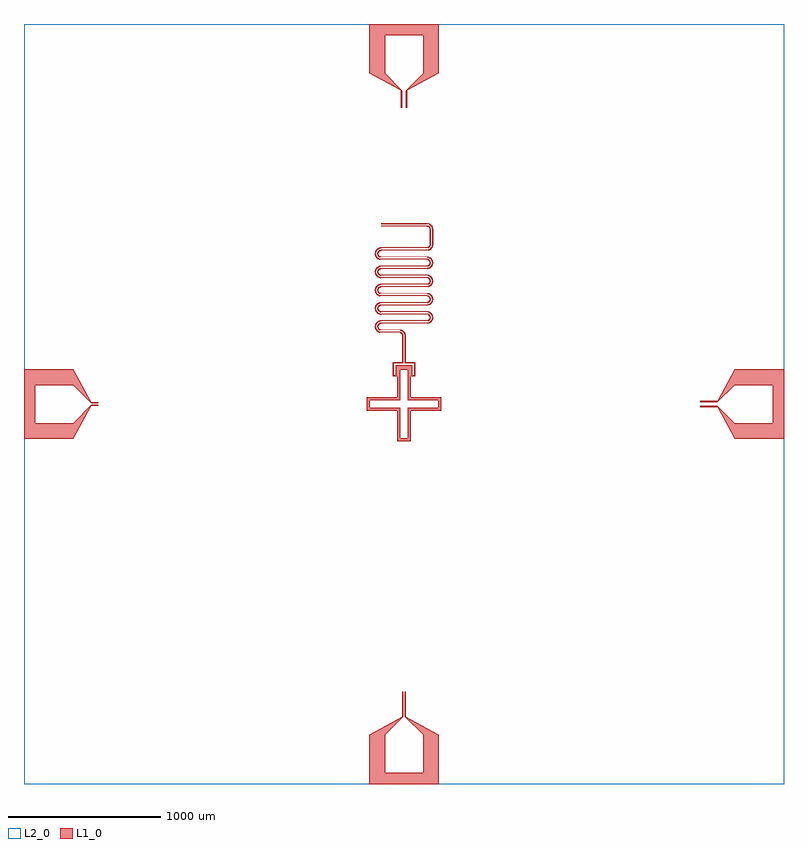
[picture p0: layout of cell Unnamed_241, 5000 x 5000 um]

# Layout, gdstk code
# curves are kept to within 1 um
from math import pi, radians
import gdstk
lib = gdstk.Library(unit=1e-6, precision=1e-09)
def R(c, l, rs):  # rectangles x0, y0, x1, y1
    for r in rs: c.add(gdstk.rectangle(r[:2], r[2:], *l))
def P(c, l, *ps):  # polygons
    for p in ps: c.add(gdstk.Polygon(p, *l))
L1_0 = (1, 0)
L2_0 = (2, 0)

xmon_xl450_xw48_xs20_ds4 = lib.new_cell('xmon_XL450_XW48_XS20_DS4_FS3')
P(xmon_xl450_xw48_xs20_ds4, L1_0, [(-44,-245),(-44,-44),(-245,-44),(-245,44),(-44,44),(-44,225),(-24,225),(-24,24),(-225,24),(-225,-24),(-24,-24),(-24,-225),(24,-225),(24,-24),(225,-24),(225,24),(24,24),(24,225),(-44,225),(-44,245),(44,245),(44,44),(245,44),(245,-44),(44,-44),(44,-245)])

unnamed_247 = lib.new_cell('Unnamed_247')
P(unnamed_247, L1_0, [(139,-910),(138.997,-729.699),(138.143,-724.359),(135.819,-719.476),(129.5,-713.546),(121.506,-711.06),(-1.301,-710.981),(-9.033,-709.994),(-15.239,-708.064),(-23.25,-703.772),(-30.119,-697.82),(-34.84,-691.617),(-38.746,-683.41),(-40.749,-674.545),(-40.749,-665.455),(-39.152,-657.826),(-35.508,-649.499),(-30.119,-642.18),(-22.167,-635.507),(-12.794,-631.046),(-2.6,-629.081),(302.405,-628.846),(310.773,-625.649),(316.453,-619.499),(318.977,-610.904),(317.282,-602.108),(314.358,-597.559),(310.271,-594.017),(305.353,-591.771),(300.603,-591.011),(-0.087,-591),(-7.76,-590.26),(-16.439,-587.562),(-24.31,-583.017),(-30.987,-576.85),(-36.141,-569.364),(-39.519,-560.926),(-40.955,-551.951),(-40.378,-542.88),(-37.818,-534.159),(-31.823,-524.146),(-23.25,-516.228),(-14.023,-511.471),(-2.6,-509.081),(302.405,-508.846),(310.271,-505.983),(316.144,-500.017),(318.882,-492.106),(317.954,-483.786),(315.476,-478.98),(311.264,-474.701),(306.498,-472.147),(300.603,-471.011),(-0.087,-471),(-7.76,-470.26),(-16.439,-467.562),(-23.25,-463.772),(-30.119,-457.82),(-35.508,-450.501),(-39.152,-442.174),(-40.749,-434.545),(-40.749,-425.455),(-38.746,-416.59),(-34.137,-407.289),(-26.355,-398.591),(-16.439,-392.438),(-6.478,-389.514),(301.205,-388.96),(309.237,-386.602),(315.476,-381.02),(318.71,-373.299),(318.312,-364.937),(315.818,-359.476),(311.744,-355.066),(306.498,-352.147),(300.603,-351.011),(-0.087,-351),(-7.76,-350.26),(-16.439,-347.562),(-23.25,-343.772),(-30.119,-337.82),(-34.84,-331.617),(-38.301,-324.633),(-40.584,-315.835),(-40.955,-308.049),(-39.519,-299.074),(-34.84,-288.383),(-27.338,-279.443),(-17.622,-272.979),(-6.478,-269.514),(301.205,-268.96),(309.237,-266.602),(315.476,-261.02),(318.596,-253.891),(318.463,-245.521),(316.144,-239.983),(312.212,-235.446),(307.061,-232.362),(300.603,-231.011),(-6.478,-230.486),(-14.023,-228.529),(-22.167,-224.493),(-28.294,-219.674),(-33.399,-213.783),(-37.296,-207.033),(-39.846,-199.666),(-40.955,-191.951),(-40.378,-182.88),(-36.141,-170.636),(-28.294,-160.326),(-17.622,-152.979),(-5.19,-149.328),(300.904,-148.978),(307.061,-147.639),(312.213,-144.555),(316.301,-139.76),(318.533,-134.186),(318.914,-28.194),(317.748,-23.219),(315.3,-18.735),(311.745,-15.065),(307.061,-12.361),(299.956,-11),(0,-11),(0,-5),(304.341,-5.38),(312.155,-8.154),(318.894,-13.629),(323.209,-20.708),(324.972,-28.81),(324.846,-132.771),(323.354,-138.922),(320.592,-144.176),(316.371,-148.894),(311.456,-152.221),(306.279,-154.199),(300.397,-154.997),(-3.327,-155.158),(-14.033,-157.936),(-23.337,-163.915),(-30.851,-173.47),(-34.469,-183.922),(-34.996,-190.555),(-34.259,-197.168),(-31.838,-204.54),(-28.511,-210.302),(-23.337,-216.085),(-17.979,-220.03),(-11.971,-222.89),(-5.53,-224.561),(301.586,-225.051),(309.291,-226.791),(316.069,-230.849),(321.243,-236.82),(324.295,-244.106),(324.62,-254.341),(320.814,-263.848),(313.516,-271.031),(303.95,-274.685),(-2.22,-275.07),(-13.008,-277.507),(-22.498,-283.188),(-29.741,-291.547),(-33.735,-300.673),(-34.891,-307.226),(-34.644,-314.981),(-33.076,-321.448),(-29.741,-328.453),(-24.945,-334.552),(-18.923,-339.444),(-11.971,-342.89),(-5.53,-344.561),(301.586,-345.051),(309.291,-346.791),(315.454,-350.349),(320.814,-356.152),(324.095,-363.338),(324.971,-368.81),(324.62,-374.341),(320.814,-383.848),(313.516,-391.031),(303.95,-394.685),(-2.22,-395.07),(-11.971,-397.11),(-20.752,-401.815),(-27.852,-408.803),(-33.076,-418.552),(-34.785,-426.121),(-34.891,-432.774),(-33.422,-440.392),(-30.311,-447.5),(-26.452,-452.921),(-20.752,-458.185),(-14.033,-462.064),(-6.624,-464.368),(-0.04,-465),(301.586,-465.051),(309.291,-466.791),(315.454,-470.349),(320.364,-475.499),(323.624,-481.824),(324.845,-487.229),(324.845,-492.771),(323.624,-498.176),(321.243,-503.18),(317.817,-507.536),(313.516,-511.031),(303.95,-514.685),(-2.22,-515.07),(-11.971,-517.11),(-20.752,-521.815),(-27.166,-527.93),(-32.283,-536.478),(-34.469,-543.922),(-34.961,-551.665),(-33.735,-559.327),(-30.851,-566.53),(-26.452,-572.921),(-20.752,-578.185),(-14.033,-582.064),(-6.624,-584.368),(-0.04,-585),(300.793,-585.013),(307.043,-586.013),(313.516,-588.969),(318.893,-593.629),(322.74,-599.615),(324.62,-605.659),(324.971,-611.19),(324.095,-616.662),(322.036,-621.806),(318.893,-626.371),(314.822,-630.131),(309.291,-633.209),(303.95,-634.685),(-2.22,-635.07),(-9.861,-636.417),(-17.979,-639.97),(-24.945,-645.448),(-30.311,-652.5),(-33.422,-659.608),(-34.891,-667.226),(-34.785,-673.879),(-33.076,-681.448),(-29.741,-688.453),(-24.945,-694.552),(-18.923,-699.444),(-11.971,-702.89),(-1.11,-704.983),(122.376,-705.113),(127.801,-706.248),(132.842,-708.551),(137.252,-711.907),(140.814,-716.152),(143.872,-722.577),(144.997,-729.603),(145,-910)],
  [(155,-910),(154.983,-728.89),(153.253,-719.079),(148.829,-710.153),(144.153,-704.669),(137.979,-699.97),(130.921,-696.747),(123.879,-695.215),(0.04,-695),(-7.043,-693.987),(-12.155,-691.846),(-17.252,-688.093),(-20.814,-683.848),(-23.353,-678.922),(-24.745,-673.558),(-24.921,-668.019),(-23.872,-662.577),(-21.65,-657.5),(-17.817,-652.464),(-12.842,-648.551),(-7.043,-646.013),(-0.793,-645.013),(300.04,-645),(306.624,-644.368),(314.033,-642.064),(320.752,-638.185),(326.452,-632.921),(331.36,-625.543),(334.014,-618.252),(334.996,-610.555),(334.259,-602.832),(331.36,-594.457),(326.452,-587.079),(318.923,-580.556),(310.921,-576.747),(302.22,-575.07),(-3.95,-574.685),(-9.291,-573.209),(-14.176,-570.591),(-18.364,-566.962),(-21.65,-562.5),(-23.872,-557.423),(-24.921,-551.981),(-24.62,-545.659),(-23.058,-540.342),(-19.894,-534.86),(-14.822,-529.869),(-8.55,-526.508),(-1.586,-525.051),(300.04,-525),(306.624,-524.368),(314.033,-522.064),(320.752,-518.185),(326.452,-512.921),(330.851,-506.53),(333.735,-499.327),(334.891,-492.774),(334.644,-485.019),(332.696,-477.509),(327.852,-468.803),(320.752,-461.815),(311.971,-457.11),(302.22,-455.07),(-3.95,-454.685),(-13.516,-451.031),(-17.817,-447.536),(-21.243,-443.18),(-24.745,-433.558),(-24.921,-428.019),(-23.872,-422.577),(-20.814,-416.152),(-15.454,-410.349),(-9.291,-406.791),(-1.586,-405.051),(305.53,-404.561),(311.971,-402.89),(318.923,-399.444),(324.945,-394.552),(329.741,-388.453),(333.076,-381.448),(334.785,-373.879),(334.891,-367.226),(333.422,-359.608),(328.511,-349.698),(321.636,-342.488),(311.971,-337.11),(302.22,-335.07),(-3.95,-334.685),(-13.516,-331.031),(-20.814,-323.848),(-24.62,-314.341),(-24.971,-308.81),(-24.095,-303.338),(-20.814,-296.152),(-15.454,-290.349),(-9.291,-286.791),(-1.586,-285.051),(305.53,-284.561),(311.971,-282.89),(318.923,-279.444),(324.945,-274.552),(329.14,-269.388),(332.696,-262.491),(334.469,-256.078),(334.961,-248.335),(334.014,-241.748),(329.741,-231.547),(322.498,-223.188),(314.033,-217.936),(303.327,-215.158),(-3.95,-214.685),(-13.516,-211.031),(-20.814,-203.848),(-24.62,-194.341),(-24.469,-184.88),(-21.243,-176.82),(-16.069,-170.849),(-9.291,-166.791),(-1.586,-165.051),(300.555,-164.996),(307.711,-164.14),(314.033,-162.064),(321.636,-157.512),(327.852,-151.196),(332.283,-143.522),(334.644,-134.981),(334.561,-24.47),(330.851,-13.47),(324.153,-4.669),(315.043,1.603),(303.879,4.785),(0,5),(0,11),(303.897,10.815),(316.438,7.561),(327.819,0.119),(336.14,-10.637),(340.377,-22.88),(341,-29.956),(340.485,-136.478),(337.561,-146.438),(332.627,-154.83),(325.853,-161.822),(317.032,-167.295),(309.033,-169.993),(300.651,-170.995),(-1.205,-171.04),(-7.061,-172.362),(-12.668,-175.841),(-16.453,-180.501),(-18.596,-186.109),(-18.596,-193.891),(-15.118,-201.506),(-8.706,-206.887),(-1.205,-208.96),(306.478,-209.514),(317.622,-212.979),(327.338,-219.443),(334.84,-228.383),(339.846,-240.334),(340.955,-248.049),(340.378,-257.12),(337.818,-265.841),(334.137,-272.711),(328.294,-279.674),(322.167,-284.493),(315.239,-288.064),(307.76,-290.26),(300.087,-291),(-0.603,-291.011),(-6.498,-292.147),(-11.744,-295.066),(-15.818,-299.476),(-18.312,-304.937),(-18.71,-313.299),(-15.476,-321.02),(-9.237,-326.602),(-1.205,-328.96),(306.478,-329.514),(317.622,-332.979),(327.338,-339.443),(334.84,-348.383),(339.519,-359.074),(340.955,-368.049),(340.584,-375.835),(338.301,-384.633),(334.84,-391.617),(330.119,-397.82),(323.25,-403.772),(316.439,-407.562),(307.76,-410.26),(300.087,-411),(-0.603,-411.011),(-6.498,-412.147),(-11.264,-414.701),(-15.476,-418.98),(-17.954,-423.786),(-18.882,-432.106),(-16.144,-440.017),(-10.271,-445.983),(-3.002,-448.76),(303.897,-449.184),(315.239,-451.936),(325.345,-457.771),(333.399,-466.217),(338.746,-476.59),(340.749,-485.455),(340.749,-494.545),(339.152,-502.174),(335.508,-510.501),(330.119,-517.82),(323.25,-523.772),(316.439,-527.562),(307.76,-530.26),(300.087,-531),(-0.603,-531.011),(-5.928,-531.95),(-10.773,-534.351),(-14.746,-538.02),(-17.523,-542.66),(-18.939,-551.506),(-16.453,-559.499),(-10.773,-565.649),(-2.405,-568.846),(302.6,-569.081),(314.023,-571.471),(323.25,-576.228),(331.823,-584.146),(337.296,-592.967),(340.132,-601.603),(340.955,-611.951),(339.519,-620.926),(336.141,-629.364),(330.987,-636.85),(324.31,-643.017),(316.439,-647.562),(307.76,-650.26),(300.087,-651),(-0.603,-651.011),(-5.353,-651.771),(-9.759,-653.7),(-13.54,-656.673),(-16.453,-660.501),(-18.939,-668.494),(-17.523,-677.34),(-12.668,-684.159),(-4.771,-688.39),(124.544,-689.252),(133.41,-691.255),(141.061,-694.822),(147.819,-699.881),(153.771,-706.75),(159.151,-717.826),(161,-729.956),(161,-910)])

unnamed_253 = lib.new_cell('Unnamed_253')
P(unnamed_253, L1_0, [(-73,184),(-73,274),(-5.002,274),(-5.002,269),(-68,269),(-68,189),(-53,189),(-53,254),(53,254),(53,189),(68,189),(68,269),(4.998,269),(4.998,274),(73,274),(73,184),(48,184),(48,249),(-48,249),(-48,184)])

rectangle_s5000_5000_l2_ = lib.new_cell('rectangle_S5000_5000_L2_a41f753c')
R(rectangle_s5000_5000_l2_, L2_0, [(-2500,-2500,2500,2500)])

pad = lib.new_cell('PAD')
P(pad, L1_0, [(-245,-228),(-245,228),(78,228),(197.45,11),(245,11),(245,5),(198,5),(78,125),(-172,125),(-172,-125),(78,-125),(198,-5),(245,-5),(245,-11),(197.45,-11),(78,-228)])

bot_connector = lib.new_cell('bot-connector')
P(bot_connector, L1_0, [(-4500,-3228),(-4500,-2772),(-4177,-2772),(-4057,-2990),(-3893,-2990),(-3893,-2995),(-4057,-2995),(-4177,-2875),(-4427,-2875),(-4427,-3125),(-4177,-3125),(-4057,-3005),(-3893,-3005),(-3893,-3010),(-4057,-3010),(-4177,-3228)])

pad_big = lib.new_cell('PAD_BIG')
P(pad_big, L1_0, [(-275,-228),(-275,228),(48,228),(161.395,22),(275,22),(275,10),(163,10),(48,125),(-202,125),(-202,-125),(48,-125),(163,-10),(275,-10),(275,-22),(161.395,-22),(48,-228)])

unnamed_241 = lib.new_cell('Unnamed_241')
unnamed_241.add(gdstk.Reference(xmon_xl450_xw48_xs20_ds4, (0,0)))
unnamed_241.add(gdstk.Reference(unnamed_247, (-150.002,1179)))
unnamed_241.add(gdstk.Reference(unnamed_253, (0,0)))
unnamed_241.add(gdstk.Reference(rectangle_s5000_5000_l2_, (0,0)))
unnamed_241.add(gdstk.Reference(pad, (-2255,0)))
unnamed_241.add(gdstk.Reference(bot_connector, (-3000,2000), rotation=pi/2))
unnamed_241.add(gdstk.Reference(pad_big, (0,2225), rotation=3*pi/2))
unnamed_241.add(gdstk.Reference(pad_big, (2225,0), rotation=pi))

lib.write_gds('Unnamed_241.gds')
